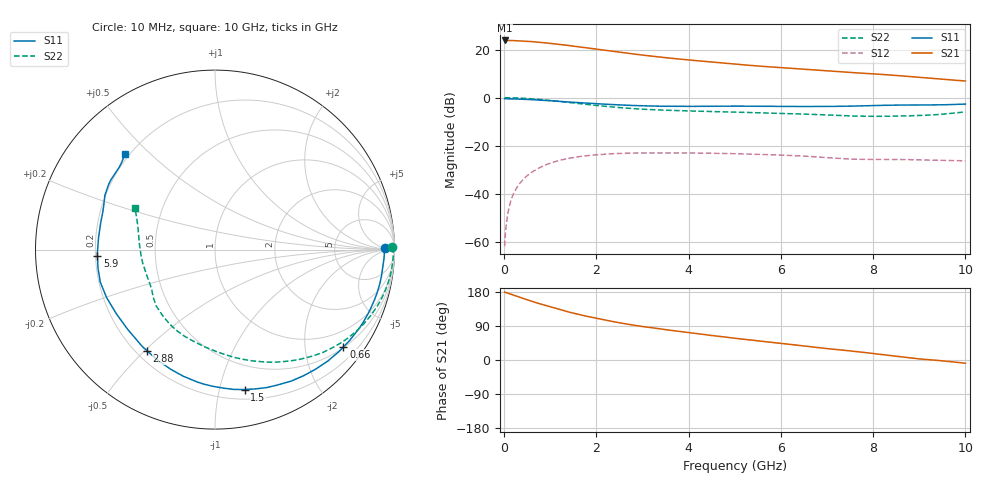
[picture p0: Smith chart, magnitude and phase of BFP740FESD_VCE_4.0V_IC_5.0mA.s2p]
! Infineon Technologies  Discrete & RF Semiconductors
! BFP740FESD
! VCE =  4.0 V,  IC =  5.0 mA
! Common Emitter S-Parameters:  Jan 2016
# GHz  S  MA  R  50
!  f  S11  S21  S12  S22
! GHz  MAG  ANG  MAG  ANG  MAG  ANG  MAG  ANG
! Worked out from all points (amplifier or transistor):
!   233 points, 10 MHz to 10 GHz, reference 50 ohm
!   highest |S21| = 23.8 dB at 10 MHz (marker M1)
!   |S21| within 3 dB of that: start of sweep to 1.755 GHz
!   unconditionally stable (mu >= 1): 7.086 GHz to end of sweep
!   at 200 MHz: K = 0.07, MSG = 32.0 dB, |S12| = -40.3 dB
!   at 1.74 GHz: K = 0.20, MSG = 22.6 dB, |S12| = -24.3 dB
!   at 10 GHz: K = 1.50, MAG = 12.4 dB, |S12| = -26.4 dB
!   S11 on the Smith chart (normalised r, x): 10 MHz: 36, +6; 660 MHz: 0.52, -2.89; 1.5 GHz: 0.28, -1.20; 2.88 GHz: 0.24, -0.51; 5.9 GHz: 0.21, -0.03; 10 GHz: 0.18, +0.42
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0.01  0.9477 0.5  15.49 179.2  0.0008 32.2  0.9858 0.7
0.07  0.9413 -4.1  15.38 176.8  0.0034 76.9  0.9929 -2.7
0.17  0.9385 -9.9  15.42 172.8  0.0083 80.1  0.9895 -6.7
0.4  0.9245 -22.9  15.11 163.0  0.019 74.3  0.97 -15.5
0.66  0.8978 -37.2  14.49 152.6  0.0303 66.0  0.9324 -25.0
0.9  0.8711 -49.8  13.79 143.6  0.0395 58.7  0.8906 -33.5
1.1  0.8469 -59.8  13.15 136.6  0.0462 52.8  0.8508 -40.2
1.3  0.821 -69.4  12.51 129.8  0.0518 47.1  0.8106 -46.7
1.5  0.7973 -78.0  11.82 123.7  0.0564 42.0  0.7703 -52.7
1.68  0.7757 -85.6  11.23 118.4  0.0597 37.6  0.7364 -57.7
1.88  0.7563 -93.0  10.58 113.0  0.0627 33.3  0.7025 -63.2
2.2  0.7278 -103.9  9.635 105.0  0.0663 27.2  0.6559 -71.1
2.54  0.7004 -114.4  8.742 97.4  0.0687 21.4  0.6138 -79.0
2.88  0.6794 -123.8  7.934 90.6  0.0698 16.5  0.581 -86.1
3.4  0.6601 -135.5  6.936 81.8  0.0701 10.5  0.5498 -94.4
4  0.6557 -147.1  6.08 72.3  0.07 5.2  0.5271 -102.3
4.5  0.6604 -156.1  5.508 64.6  0.0694 1.1  0.5117 -109.3
5.1  0.6627 -165.5  4.891 56.0  0.0673 -3.3  0.4948 -117.2
5.9  0.6559 -176.8  4.278 45.2  0.0638 -8.1  0.4712 -127.4
6.8  0.652 169.7  3.723 33.0  0.0577 -11.8  0.4417 -139.8
8.4  0.6946 148.7  2.937 11.4  0.0514 -7.5  0.4095 -169.2
10  0.7316 133.2  2.216 -8.6  0.0481 -4.7  0.5032 152.4
